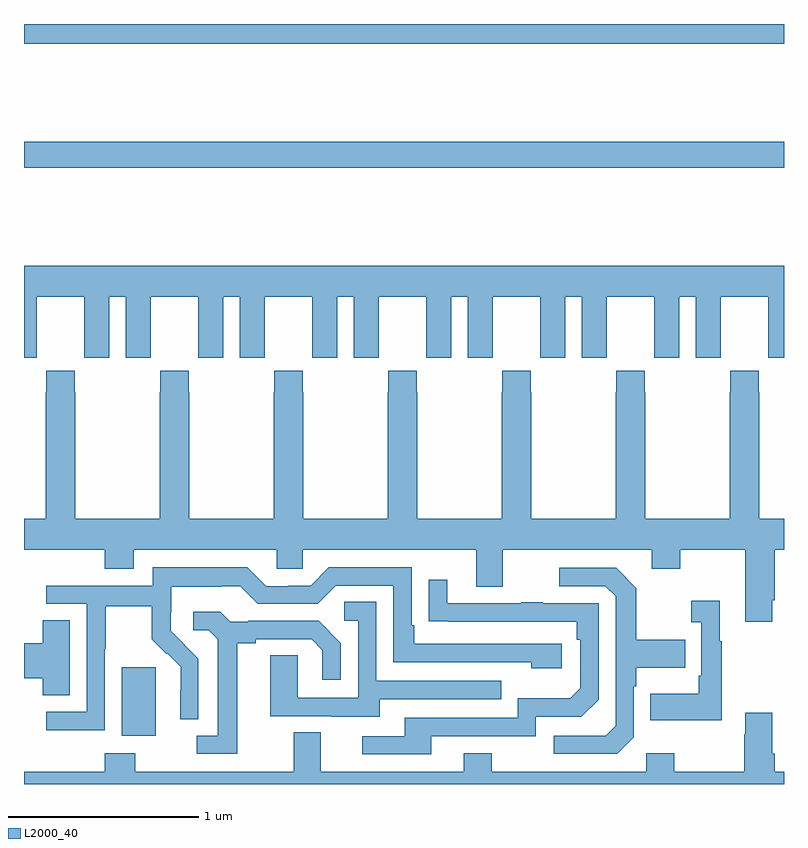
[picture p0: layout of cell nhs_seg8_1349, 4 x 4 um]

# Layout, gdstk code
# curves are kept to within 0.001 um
import gdstk
lib = gdstk.Library(unit=1e-6, precision=1e-09)
def R(c, l, rs):  # rectangles x0, y0, x1, y1
    for r in rs: c.add(gdstk.rectangle(r[:2], r[2:], *l))
def P(c, l, *ps):  # polygons
    for p in ps: c.add(gdstk.Polygon(p, *l))
L2000_40 = (2000, 40)

nhs_seg8_1349 = lib.new_cell('nhs_seg8_1349')
R(nhs_seg8_1349, L2000_40, [(195.515,1150.154,195.694,1150.515), (195,1153.144,199,1153.28), (195,1153.796,199,1153.9)])
P(nhs_seg8_1349, L2000_40, [(195.066,1152.256),(195.067,1152.256),(195.067,1152.464),(195.317,1152.464),(195.317,1152.256),(195.318,1152.256),(195.318,1152.144),(195.448,1152.144),(195.448,1152.464),(195.536,1152.464),(195.536,1152.144),(195.666,1152.144),(195.666,1152.256),(195.667,1152.256),(195.667,1152.464),(195.917,1152.464),(195.917,1152.256),(195.918,1152.256),(195.918,1152.144),(196.048,1152.144),(196.048,1152.464),(196.136,1152.464),(196.136,1152.144),(196.266,1152.144),(196.266,1152.256),(196.267,1152.256),(196.267,1152.464),(196.517,1152.464),(196.517,1152.256),(196.518,1152.256),(196.518,1152.144),(196.648,1152.144),(196.648,1152.464),(196.736,1152.464),(196.736,1152.144),(196.866,1152.144),(196.866,1152.256),(196.867,1152.256),(196.867,1152.464),(197.117,1152.464),(197.117,1152.256),(197.118,1152.256),(197.118,1152.144),(197.248,1152.144),(197.248,1152.464),(197.336,1152.464),(197.336,1152.144),(197.466,1152.144),(197.466,1152.256),(197.467,1152.256),(197.467,1152.464),(197.717,1152.464),(197.717,1152.256),(197.718,1152.256),(197.718,1152.144),(197.848,1152.144),(197.848,1152.464),(197.936,1152.464),(197.936,1152.144),(198.066,1152.144),(198.066,1152.256),(198.067,1152.256),(198.067,1152.464),(198.317,1152.464),(198.317,1152.256),(198.318,1152.256),(198.318,1152.144),(198.448,1152.144),(198.448,1152.464),(198.536,1152.464),(198.536,1152.144),(198.666,1152.144),(198.666,1152.256),(198.667,1152.256),(198.667,1152.464),(198.917,1152.464),(198.917,1152.256),(198.918,1152.256),(198.918,1152.144),(199,1152.144),(199,1152.628),(195,1152.628),(195,1152.144),(195.066,1152.144)],
  [(197.381,1150.938),(197.521,1150.938),(197.521,1151.132),(198.305,1151.132),(198.305,1151.033),(198.453,1151.033),(198.453,1151.132),(198.797,1151.132),(198.797,1150.755),(198.937,1150.755),(198.937,1150.867),(198.95,1150.867),(198.95,1151.132),(199,1151.132),(199,1151.296),(198.87,1151.296),(198.87,1151.963),(198.867,1151.963),(198.867,1152.076),(198.717,1152.076),(198.717,1151.963),(198.715,1151.963),(198.715,1151.296),(198.27,1151.296),(198.27,1151.963),(198.267,1151.963),(198.267,1152.076),(198.117,1152.076),(198.117,1151.963),(198.115,1151.963),(198.115,1151.296),(197.67,1151.296),(197.67,1151.963),(197.667,1151.963),(197.667,1152.076),(197.517,1152.076),(197.517,1151.963),(197.515,1151.963),(197.515,1151.296),(197.07,1151.296),(197.07,1151.963),(197.067,1151.963),(197.067,1152.076),(196.917,1152.076),(196.917,1151.963),(196.915,1151.963),(196.915,1151.296),(196.47,1151.296),(196.47,1151.963),(196.467,1151.963),(196.467,1152.076),(196.317,1152.076),(196.317,1151.963),(196.315,1151.963),(196.315,1151.296),(195.87,1151.296),(195.87,1151.963),(195.867,1151.963),(195.867,1152.076),(195.717,1152.076),(195.717,1151.963),(195.715,1151.963),(195.715,1151.296),(195.27,1151.296),(195.27,1151.963),(195.267,1151.963),(195.267,1152.076),(195.117,1152.076),(195.117,1151.963),(195.115,1151.963),(195.115,1151.296),(195,1151.296),(195,1151.132),(195.425,1151.132),(195.425,1151.033),(195.577,1151.033),(195.577,1151.132),(196.329,1151.132),(196.329,1151.034),(196.467,1151.034),(196.467,1151.132),(197.381,1151.132)],
  [(195.426,1150.612),(195.429,1150.612),(195.429,1150.836),(195.673,1150.836),(195.673,1150.661),(195.75,1150.584),(195.753,1150.587),(195.824,1150.517),(195.824,1150.394),(195.822,1150.394),(195.822,1150.24),(195.918,1150.24),(195.918,1150.558),(195.772,1150.706),(195.772,1150.803),(195.774,1150.803),(195.774,1150.937),(196.037,1150.937),(196.037,1150.941),(196.137,1150.941),(196.23,1150.848),(196.545,1150.848),(196.641,1150.944),(196.944,1150.944),(196.944,1150.542),(197.669,1150.542),(197.669,1150.508),(197.83,1150.508),(197.83,1150.638),(197.053,1150.638),(197.053,1150.735),(197.04,1150.735),(197.04,1151.04),(196.605,1151.04),(196.509,1150.944),(196.391,1150.944),(196.391,1150.941),(196.275,1150.941),(196.175,1151.041),(195.678,1151.041),(195.678,1150.944),(195.117,1150.944),(195.117,1150.848),(195.33,1150.848),(195.33,1150.281),(195.117,1150.281),(195.117,1150.183),(195.426,1150.183)],
  [(198.21,1150.146),(198.21,1150.415),(198.223,1150.415),(198.223,1150.511),(198.479,1150.511),(198.479,1150.659),(198.223,1150.659),(198.223,1150.931),(198.117,1151.037),(197.817,1151.037),(197.817,1150.941),(198.06,1150.941),(198.114,1150.887),(198.114,1150.206),(198.063,1150.155),(197.787,1150.155),(197.787,1150.059),(198.123,1150.059)],
  [(197.143,1150.152),(197.694,1150.152),(197.694,1150.254),(197.934,1150.254),(198.024,1150.344),(198.024,1150.851),(197.729,1150.851),(197.729,1150.856),(197.617,1150.856),(197.617,1150.851),(197.227,1150.851),(197.227,1150.975),(197.131,1150.975),(197.131,1150.756),(197.908,1150.755),(197.908,1150.658),(197.928,1150.658),(197.928,1150.404),(197.875,1150.351),(197.598,1150.351),(197.598,1150.248),(197.003,1150.248),(197.003,1150.152),(196.779,1150.152),(196.779,1150.056),(197.143,1150.056)],
  [(198.673,1150.651),(198.661,1150.651),(198.661,1150.864),(198.513,1150.864),(198.513,1150.751),(198.564,1150.751),(198.564,1150.471),(198.552,1150.471),(198.552,1150.375),(198.295,1150.375),(198.295,1150.235),(198.673,1150.235)],
  [(196.873,1150.347),(197.513,1150.347),(197.513,1150.443),(196.854,1150.443),(196.854,1150.859),(196.686,1150.859),(196.686,1150.758),(196.758,1150.758),(196.758,1150.353),(196.44,1150.353),(196.44,1150.577),(196.295,1150.577),(196.295,1150.257),(196.619,1150.257),(196.619,1150.253),(196.873,1150.253)],
  [(196.123,1150.64),(196.219,1150.64),(196.219,1150.662),(196.514,1150.662),(196.571,1150.605),(196.571,1150.449),(196.668,1150.449),(196.668,1150.642),(196.552,1150.758),(196.18,1150.758),(196.18,1150.755),(196.086,1150.755),(196.034,1150.807),(195.891,1150.807),(195.891,1150.71),(195.972,1150.71),(196.019,1150.663),(196.019,1150.155),(195.909,1150.155),(195.909,1150.059),(196.123,1150.059)],
  [(195.241,1150.763),(195.098,1150.763),(195.098,1150.64),(195,1150.64),(195,1150.457),(195.098,1150.457),(195.098,1150.366),(195.241,1150.366)],
  [(199,1149.964),(198.95,1149.964),(198.95,1150.06),(198.937,1150.06),(198.937,1150.276),(198.797,1150.276),(198.797,1150.163),(198.79,1150.163),(198.79,1149.964),(198.423,1149.964),(198.423,1150.063),(198.276,1150.063),(198.276,1149.964),(197.463,1149.964),(197.463,1150.063),(197.315,1150.063),(197.315,1149.964),(196.561,1149.964),(196.561,1150.172),(196.421,1150.172),(196.421,1149.964),(195.585,1149.964),(195.585,1150.063),(195.425,1150.063),(195.425,1149.964),(195,1149.964),(195,1149.9),(199,1149.9)])

lib.write_gds('nhs_seg8_1349.gds')
